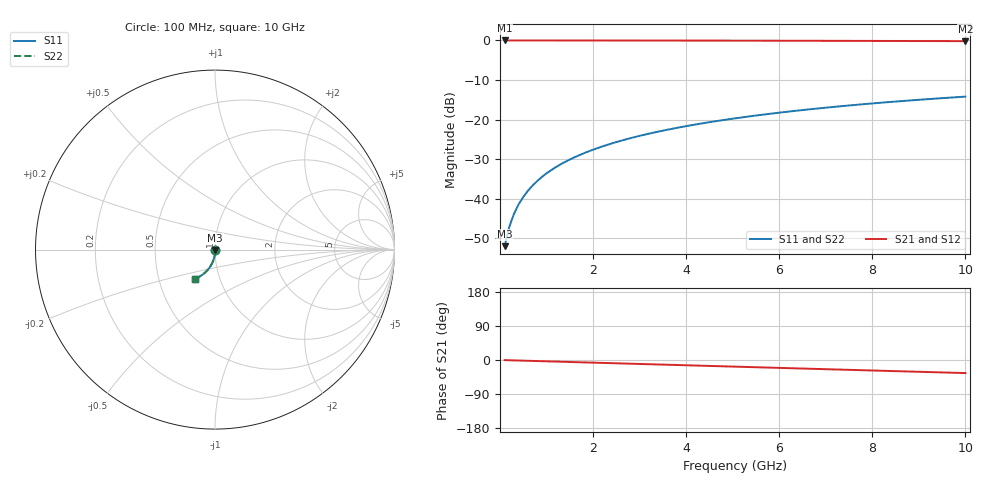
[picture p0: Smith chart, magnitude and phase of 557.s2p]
# Hz S RI R 50.00
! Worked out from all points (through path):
!   100 points, 100 MHz to 10 GHz, reference 50 ohm
!   highest |S21| = -0.01 dB at 100 MHz (marker M1); lowest = -0.2 dB at 10 GHz (marker M2)
!   group delay of S21, straight-line fit = 9.59 ps
!   lowest |S11| = -52.0 dB at 100 MHz (marker M3), VSWR 1.01, Z = 50.1 - j0.21 ohm
!   |S11| at or under -10 dB: start of sweep to end of sweep
!   |S22| runs from -52.0 to -14.2 dB; largest |S21 - S12| = 0
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1e8  0.00139 -0.00209  0.9986 -0.00606  0.9986 -0.00606  0.00139 -0.00209
2e8  0.00136 -0.00418  0.9985 -0.0121  0.9985 -0.0121  0.00136 -0.00418
3e8  0.0013 -0.00628  0.9984 -0.0182  0.9984 -0.0182  0.0013 -0.00628
4e8  0.00121 -0.00837  0.9982 -0.0242  0.9982 -0.0242  0.00121 -0.00837
5e8  0.0011 -0.0105  0.998 -0.0303  0.998 -0.0303  0.0011 -0.0105
6e8  0.000959 -0.0125  0.9978 -0.0364  0.9978 -0.0364  0.000959 -0.0125
7e8  0.000795 -0.0146  0.9975 -0.0424  0.9975 -0.0424  0.000795 -0.0146
8e8  0.000605 -0.0167  0.9972 -0.0485  0.9972 -0.0485  0.000605 -0.0167
9e8  0.000389 -0.0188  0.9968 -0.0545  0.9968 -0.0545  0.000389 -0.0188
1.1e9  -0.000118 -0.0229  0.996 -0.0666  0.996 -0.0666  -0.000118 -0.0229
1.4e9  -0.00107 -0.0292  0.9945 -0.0847  0.9945 -0.0847  -0.00107 -0.0292
1.8e9  -0.00269 -0.0374  0.9918 -0.1088  0.9918 -0.1088  -0.00269 -0.0374
2.1e9  -0.00416 -0.0435  0.9894 -0.1268  0.9894 -0.1268  -0.00416 -0.0435
2.5e9  -0.00647 -0.0515  0.9856 -0.1507  0.9856 -0.1507  -0.00647 -0.0515
2.9e9  -0.00916 -0.0594  0.9812 -0.1745  0.9812 -0.1745  -0.00916 -0.0594
3.4e9  -0.0131 -0.0691  0.9748 -0.204  0.9748 -0.204  -0.0131 -0.0691
4.2e9  -0.0205 -0.0841  0.9625 -0.2506  0.9625 -0.2506  -0.0205 -0.0841
5.1e9  -0.0305 -0.1  0.9457 -0.302  0.9457 -0.302  -0.0305 -0.1
5.9e9  -0.0408 -0.1131  0.9283 -0.3466  0.9283 -0.3466  -0.0408 -0.1131
6.7e9  -0.0523 -0.1251  0.9087 -0.39  0.9087 -0.39  -0.0523 -0.1251
8.4e9  -0.08 -0.1466  0.8601 -0.4779  0.8601 -0.4779  -0.08 -0.1466
1e10  -0.1093 -0.1612  0.8066 -0.5544  0.8066 -0.5544  -0.1093 -0.1612
